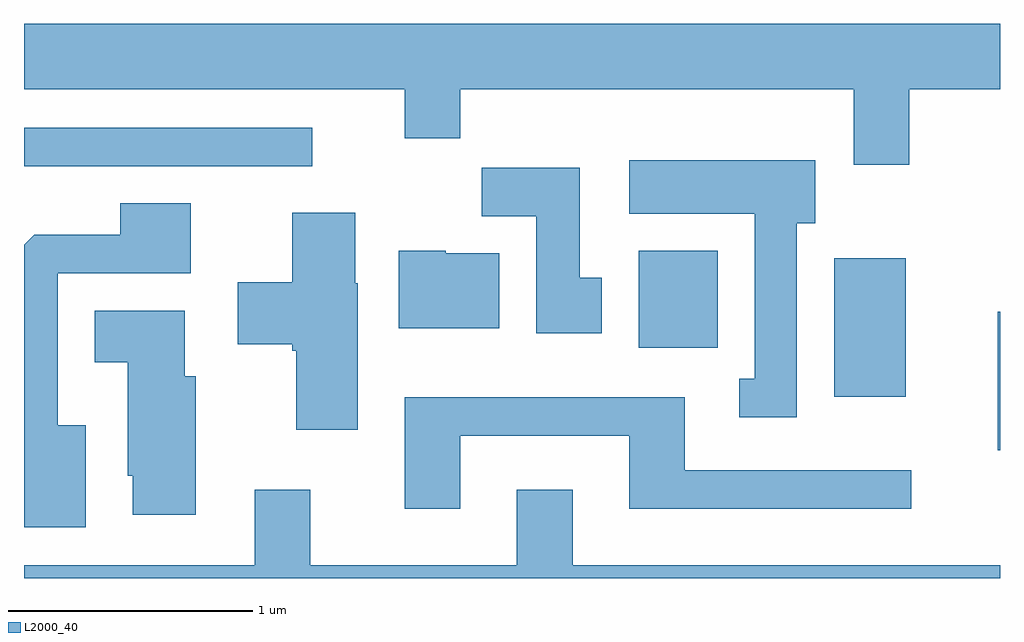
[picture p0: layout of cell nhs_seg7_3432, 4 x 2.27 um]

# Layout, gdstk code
import gdstk
lib = gdstk.Library(unit=1e-6, precision=1e-09)
def R(c, l, rs):  # rectangles x0, y0, x1, y1
    for r in rs: c.add(gdstk.rectangle(r[:2], r[2:], *l))
def P(c, l, *ps):  # polygons
    for p in ps: c.add(gdstk.Polygon(p, *l))
L2000_40 = (2000, 40)

nhs_seg7_3432 = lib.new_cell('nhs_seg7_3432')
R(nhs_seg7_3432, L2000_40, [(293.601,1772.776,293.611,1773.344), (292.931,1772.996,293.224,1773.564), (292.131,1773.196,292.454,1773.594), (289.611,1773.941,290.793,1774.099)])
P(nhs_seg7_3432, L2000_40, [(293.239,1774.256),(293.611,1774.256),(293.611,1774.524),(289.611,1774.524),(289.611,1774.256),(291.171,1774.256),(291.171,1774.056),(291.399,1774.056),(291.399,1774.256),(293.011,1774.256),(293.011,1773.946),(293.239,1773.946)],
  [(292.779,1773.706),(292.854,1773.706),(292.854,1773.964),(292.091,1773.964),(292.091,1773.746),(292.606,1773.746),(292.606,1773.069),(292.543,1773.069),(292.543,1772.911),(292.779,1772.911)],
  [(291.979,1773.484),(291.889,1773.484),(291.889,1773.934),(291.486,1773.934),(291.486,1773.736),(291.711,1773.736),(291.711,1773.256),(291.979,1773.256)],
  [(289.864,1772.879),(289.749,1772.879),(289.749,1773.501),(290.294,1773.501),(290.294,1773.789),(290.006,1773.789),(290.006,1773.659),(289.652,1773.659),(289.611,1773.618),(289.611,1772.461),(289.864,1772.461)],
  [(290.979,1773.46),(290.969,1773.46),(290.969,1773.749),(290.711,1773.749),(290.711,1773.464),(290.486,1773.464),(290.486,1773.211),(290.711,1773.211),(290.711,1773.185),(290.726,1773.185),(290.726,1772.861),(290.979,1772.861)],
  [(291.559,1773.584),(291.34,1773.584),(291.34,1773.594),(291.146,1773.594),(291.146,1773.276),(291.559,1773.276)],
  [(290.314,1773.079),(290.269,1773.079),(290.269,1773.349),(289.901,1773.349),(289.901,1773.136),(290.036,1773.136),(290.036,1772.671),(290.056,1772.671),(290.056,1772.511),(290.314,1772.511)],
  [(291.399,1772.836),(292.091,1772.836),(292.091,1772.536),(293.248,1772.536),(293.248,1772.694),(292.319,1772.694),(292.319,1772.994),(291.171,1772.994),(291.171,1772.536),(291.399,1772.536)],
  [(293.611,1772.304),(291.859,1772.304),(291.859,1772.614),(291.631,1772.614),(291.631,1772.304),(290.784,1772.304),(290.784,1772.614),(290.556,1772.614),(290.556,1772.304),(289.611,1772.304),(289.611,1772.252),(293.611,1772.252)])

lib.write_gds('nhs_seg7_3432.gds')
